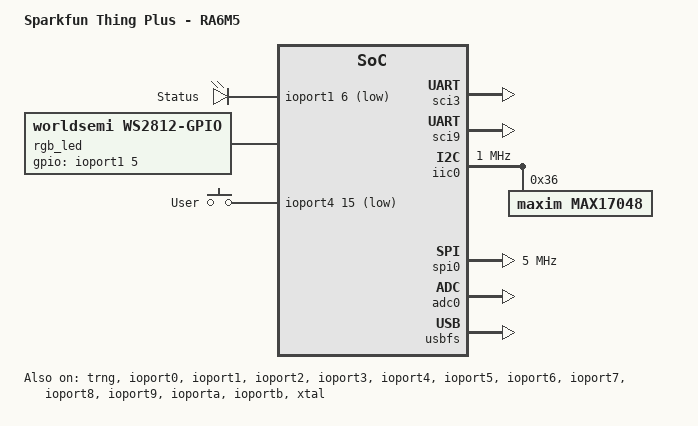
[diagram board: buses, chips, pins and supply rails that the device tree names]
/*
 * Copyright (c) 2025 George White
 * Copyright (c) 2025 Arduino SA
 * SPDX-License-Identifier: Apache-2.0
 */

/dts-v1/;

/* NOTE: different package type, but otherwise same SoC */
#include <renesas/ra/ra6/r7fa6m5bh3cfc.dtsi>

#include <zephyr/dt-bindings/gpio/gpio.h>
#include <zephyr/dt-bindings/input/input-event-codes.h>
#include <zephyr/dt-bindings/adc/adc.h>
#include <zephyr/dt-bindings/pwm/pwm.h>
#include <zephyr/dt-bindings/led/led.h>

#include "sparkfun_thing_plus_ra6m5-pinctrl.dtsi"

/ {
	model = "Sparkfun Thing Plus - RA6M5";
	compatible = "renesas,ra6m5", "renesas,ra";

	chosen {
		zephyr,sram = &sram0;
		zephyr,flash-controller = &flash1;
		zephyr,code-partition = &code_partition;
		zephyr,flash = &flash0;
		zephyr,console = &uart3;
		zephyr,shell-uart = &uart3;
		zephyr,entropy = &trng;
		zephyr,bt-hci = &bt_hci_uart;
		zephyr,led-strip = &rgb_led;
	};

	leds {
		compatible = "gpio-leds";

		led0: led0 {
			gpios = <&ioport1 6 GPIO_ACTIVE_LOW>;
			label = "Status";
		};
	};

	rgb_led: ws2812 {
		compatible = "worldsemi,ws2812-gpio";
		gpios = <&ioport1 5 0>;
		chain-length = <1>;
		color-mapping = <LED_COLOR_ID_GREEN
				LED_COLOR_ID_RED
				LED_COLOR_ID_BLUE>;
		reset-delay = <50>;
	};

	gpio_keys {
		compatible = "gpio-keys";

		user_button: button {
			gpios = <&ioport4 15 GPIO_ACTIVE_LOW>;
			label = "User";
			zephyr,code = <INPUT_KEY_0>;
		};
	};

	aliases {
		led0 = &led0;
		sw0 = &user_button;
	};
};

/* On-chip flash */

&flash0 {
	partitions {
		compatible = "fixed-partitions";
		#address-cells = <1>;
		#size-cells = <1>;

		boot_partition: partition@0 {
			label = "mcuboot";
			reg = <0x00000000 DT_SIZE_K(64)>;
			read-only;
		};

		code_partition: partition@10000 {
			label = "image-0";
			reg = <0x00010000 (DT_SIZE_M(2) - DT_SIZE_K(64))>;
		};
	};
};

&flash1 {
	partitions {
		compatible = "fixed-partitions";
		#address-cells = <1>;
		#size-cells = <1>;

		storage_partition: partition@0 {
			label = "storage";
			reg = <0X0 DT_SIZE_K(8)>;
		};
	};
};

/* External QSPI flash (controller not yet supported by Zephyr) */

// &qspi {
// 	qspi_flash: mx25l12833f: qspi-nor-flash@0 {
// 		compatible = "NOT SUPPORTED";
// 		reg = <0>;
// 		size = <DT_SIZE_M(128)>; /* 128 Mbits (16 MB) */
// 		qspi-max-frequency = <40000000>;
// 		cs-high-time = <2>; /* >= 30 ns */
// 		sfdp-bfp = [e5 20 f1 ff ff ff ff 07 44 eb 08 6b 08 3b 04 bb
// 			    fe ff ff ff ff ff 00 ff ff ff 44 eb 0c 20 0f 52
// 			    10 d8 00 ff 82 41 bd 00 81 e5 7b c6 44 03 67 38
// 			    30 b0 30 b0 f7 bd d5 5c 4a be 29 ff e1 d0 ff ff];
// 		jedec-id = [66 66 20];
// 		spi-bus-width = <4>;
// 		status = "okay";
// 	};
// }

/* U(S)ART */

&sci3 {
	pinctrl-0 = <&sci3_default>;
	pinctrl-names = "default";
	status = "okay";

	uart3: uart {
		current-speed = <115200>;
		status = "okay";
	};
};

&sci9 {
	pinctrl-0 = <&sci9_default>;
	pinctrl-names = "default";
	status = "okay";

	uart9: uart {
		current-speed = <57600>;
		status = "okay";
		hw-flow-control;

		bt_hci_uart: bt_hci_uart {
			compatible = "zephyr,bt-hci-uart";
			status = "okay";

			esp32 {
				compatible = "renesas,bt-hci-da1453x";
				status = "okay";
				reset-gpios = <&ioport1 15 GPIO_ACTIVE_LOW>;
				reset-assert-duration-ms = <100>;
				boot-duration-ms = <2000>;
			};
		};
	};
};

/* I2C, shared between feather connector and fuel guage */

&iic0 {
	status = "okay";
	#address-cells = <1>;
	#size-cells = <0>;
	interrupts = <87 1>, <88 1>, <89 1>, <90 1>;
	interrupt-names = "rxi", "txi", "tei", "eri";
	clock-frequency = <DT_FREQ_M(1)>;
	pinctrl-0 = <&iic0_default>;
	pinctrl-names = "default";

	/* Fuel guage */
	max17048: max17048@36 {
		compatible = "maxim,max17048";
		reg = <0x36>;
		status = "okay";
	};
};

/* SPI */

&spi0 {
	status = "okay";
	pinctrl-0 = <&spi0_default>;
	pinctrl-names = "default";
	clock-frequency = <DT_FREQ_M(5)>;
	cs-gpios = <&ioport1 12 GPIO_ACTIVE_LOW>;
};

/* ADC */

&adc0 {
	status = "okay";
	pinctrl-0 = <&adc0_default>;
	pinctrl-names = "default";
};

/* microSD card slot */

// TODO: not in the SoC definition, but it's there...
// sdhc0: sdhc0@40092000 {
// 	status = "okay";
// 	compatible = "renesas,ra-sdhc";
// 	reg = <0x40092000 0x400>;

// 	channel = 0;
// 	pinctrl-0 = <&sdhi0_default>;
// 	pinctrl-names = "default";
// 	enable-gpios = <&ioport7 8 GPIO_ACTIVE_LOW>;

// 	/* Features */
// 	sd-support;
// 	card-detect;
// 	write-protect;

// 	interrupts = <18 12>, <20 12>, <19 12>;
//   	interrupt-names = "accs", "card", "dma-req";

// 	sdmmc {
// 		compatible = "zephyr,sdmmc-disk";
// 		disk-name = "SD";
// 		status = "okay";
// 	};
// };

/* System */

&trng {
	status = "okay";
};

&ioport0 {
	status = "okay";
};

&ioport1 {
	status = "okay";
};

&ioport2 {
	status = "okay";
};

&ioport3 {
	status = "okay";
};

&ioport4 {
	status = "okay";
};

&ioport5 {
	status = "okay";
};

&ioport6 {
	status = "okay";
};

&ioport7 {
	status = "okay";
};

&ioport8 {
	status = "okay";
};

&ioport9 {
	status = "okay";
};

&ioporta {
	status = "okay";
};

&ioportb {
	status = "okay";
};

&xtal {
	clock-frequency = <DT_FREQ_M(24)>;
	mosel = <0>;
	#clock-cells = <0>;
	status = "okay";
};

&subclk {
	status = "okay";
};

&pll {
	clocks = <&xtal>;
	div = <3>;
	mul = <25 0>;
	status = "okay";
};

&pll2 {
	clocks = <&xtal>;
	div = <2>;
	mul = <20 0>;
	status = "okay";
};

/* USB */

&uclk {
	clocks = <&pll2>;
	div = <5>;
	status = "okay";
};

&usbfs {
	pinctrl-0 = <&usbfs_default>;
	pinctrl-names = "default";
	maximum-speed = "full-speed";
	status = "okay";

	zephyr_udc0: udc {
		status = "okay";
	};
};

/* Miscellaneous */

&option_setting_ofs0 {
	status = "disabled";
};

&option_setting_dualsel {
	status = "disabled";
};

&option_setting_ofs1_sec {
	status = "disabled";
};

&option_setting_banksel_sec {
	status = "disabled";
};

&option_setting_bps_sec {
	status = "disabled";
};

&option_setting_pbps_sec {
	status = "disabled";
};

&option_setting_ofs1_sel {
	status = "disabled";
};

&option_setting_banksel_sel {
	status = "disabled";
};

&option_setting_bps_sel {
	status = "disabled";
};

/* Feather connector */
#include "feather_connector.dtsi"
